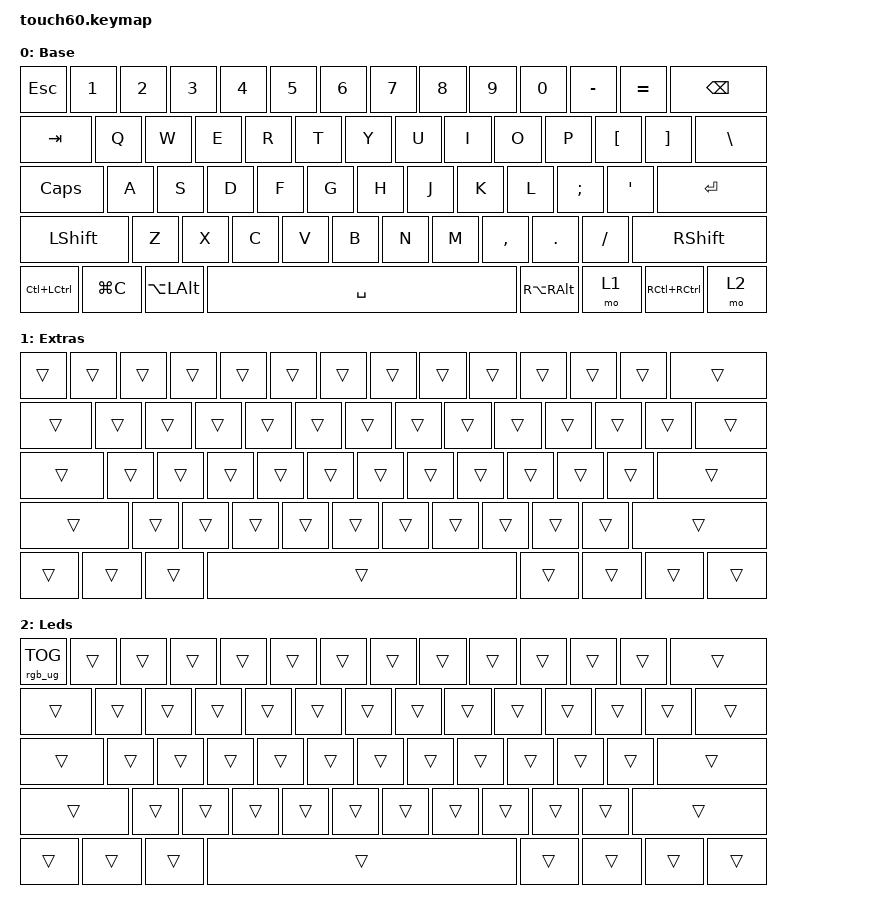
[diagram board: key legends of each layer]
#include <behaviors.dtsi>
#include <dt-bindings/zmk/keys.h>
#include <dt-bindings/zmk/rgb.h>

/ {
    keymap {
        compatible = "zmk,keymap";

        Base {
            display-name = "Base";
            bindings = <
&kp ESCAPE     &kp NUMBER_1  &kp NUMBER_2  &kp NUMBER_3  &kp NUMBER_4  &kp N5  &kp NUMBER_6  &kp N7  &kp N8  &kp N9     &kp N0             &kp MINUS         &kp EQUAL          &kp BACKSPACE
&kp TAB        &kp Q         &kp W         &kp E         &kp R         &kp T   &kp Y         &kp U   &kp I   &kp O      &kp P              &kp LEFT_BRACKET  &kp RIGHT_BRACKET  &kp BACKSLASH
&kp CAPSLOCK   &kp A         &kp S         &kp D         &kp F         &kp G   &kp H         &kp J   &kp K   &kp L      &kp SEMICOLON      &kp SQT           &kp ENTER
&kp LSHFT                    &kp Z         &kp X         &kp C         &kp V   &kp B         &kp N   &kp M   &kp COMMA  &kp PERIOD         &kp SLASH         &kp RIGHT_SHIFT
&kp LC(LCTRL)  &kp LG(C)     &kp LA(LALT)                                      &kp SPACE                                &kp RA(RIGHT_ALT)  &mo 1             &kp RC(RCTRL)      &mo 2
            >;
        };

        Extras {
            bindings = <
&trans  &trans  &trans  &trans  &trans  &trans  &trans  &trans  &trans  &trans  &trans  &trans  &trans  &trans
&trans  &trans  &trans  &trans  &trans  &trans  &trans  &trans  &trans  &trans  &trans  &trans  &trans  &trans
&trans  &trans  &trans  &trans  &trans  &trans  &trans  &trans  &trans  &trans  &trans  &trans  &trans
&trans          &trans  &trans  &trans  &trans  &trans  &trans  &trans  &trans  &trans  &trans  &trans
&trans  &trans  &trans                          &trans                          &trans  &trans  &trans  &trans
            >;
        };

        Leds {
            bindings = <
&rgb_ug RGB_TOG  &trans  &trans  &trans  &trans  &trans  &trans  &trans  &trans  &trans  &trans  &trans  &trans  &trans
&trans           &trans  &trans  &trans  &trans  &trans  &trans  &trans  &trans  &trans  &trans  &trans  &trans  &trans
&trans           &trans  &trans  &trans  &trans  &trans  &trans  &trans  &trans  &trans  &trans  &trans  &trans
&trans                   &trans  &trans  &trans  &trans  &trans  &trans  &trans  &trans  &trans  &trans  &trans
&trans           &trans  &trans                          &trans                          &trans  &trans  &trans  &trans
            >;
        };
    };
};
